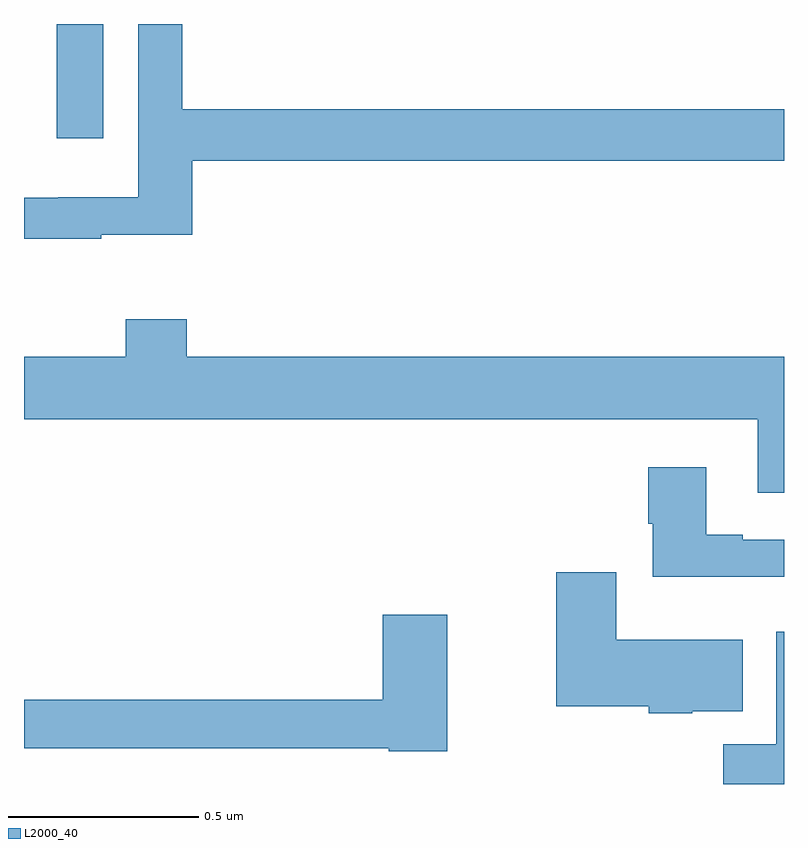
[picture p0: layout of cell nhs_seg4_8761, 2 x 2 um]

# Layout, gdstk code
import gdstk
lib = gdstk.Library(unit=1e-6, precision=1e-09)
def R(c, l, rs):  # rectangles x0, y0, x1, y1
    for r in rs: c.add(gdstk.rectangle(r[:2], r[2:], *l))
def P(c, l, *ps):  # polygons
    for p in ps: c.add(gdstk.Polygon(p, *l))
L2000_40 = (2000, 40)

nhs_seg4_8761 = lib.new_cell('nhs_seg4_8761')
R(nhs_seg4_8761, L2000_40, [(219.086,757.599,219.208,757.9)])
P(nhs_seg4_8761, L2000_40, [(219.203,757.345),(219.443,757.345),(219.443,757.54),(221,757.54),(221,757.676),(219.416,757.676),(219.416,757.9),(219.3,757.9),(219.3,757.444),(219.09,757.444),(219.09,757.443),(219,757.443),(219,757.335),(219.203,757.335)],
  [(221,757.024),(219.428,757.024),(219.428,757.123),(219.268,757.123),(219.268,757.024),(219,757.024),(219,756.86),(220.931,756.86),(220.931,756.666),(221,756.666)],
  [(221,756.543),(220.891,756.543),(220.891,756.556),(220.795,756.556),(220.795,756.733),(220.643,756.733),(220.643,756.585),(220.655,756.585),(220.655,756.446),(221,756.446)],
  [(220.758,756.092),(220.891,756.092),(220.891,756.28),(220.558,756.28),(220.558,756.457),(220.4,756.457),(220.4,756.104),(220.644,756.104),(220.644,756.086),(220.758,756.086)],
  [(220.114,756.346),(219.944,756.346),(219.944,756.122),(219,756.122),(219,755.994),(219.96,755.994),(219.96,755.986),(220.114,755.986)],
  [(221,756.301),(220.979,756.301),(220.979,756.004),(220.84,756.004),(220.84,755.9),(221,755.9)])

lib.write_gds('nhs_seg4_8761.gds')
